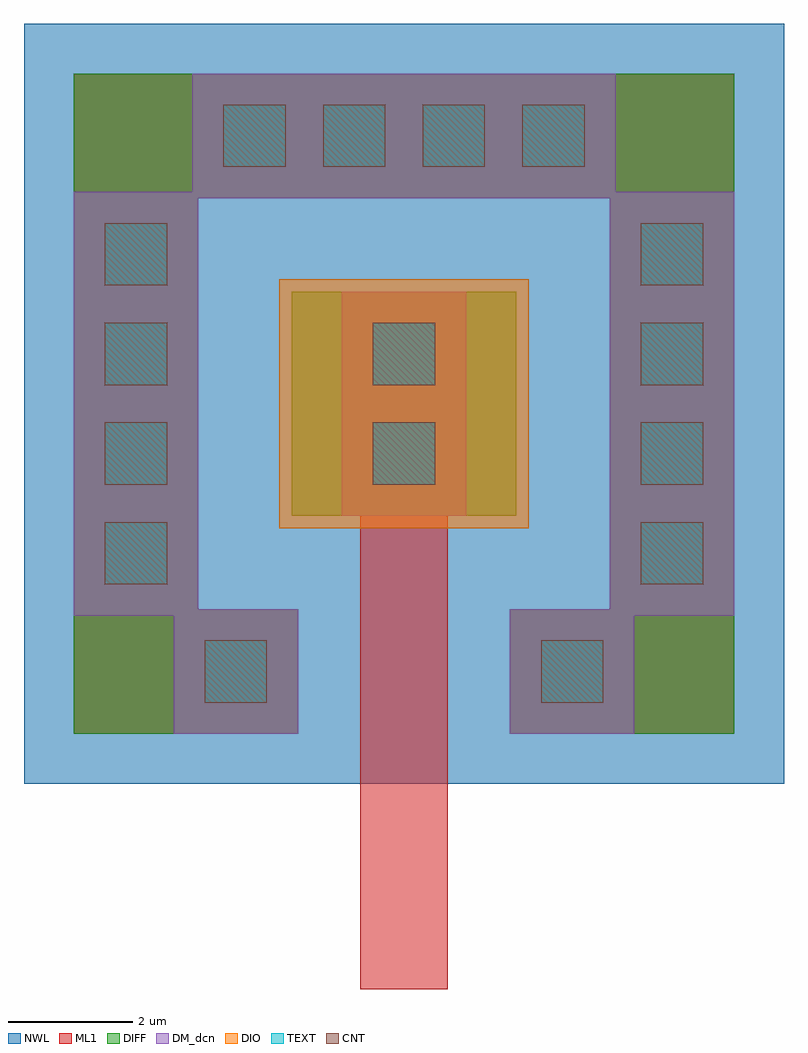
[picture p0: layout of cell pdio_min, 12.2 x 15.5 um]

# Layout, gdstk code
import gdstk
lib = gdstk.Library(unit=1e-6, precision=1e-09)
def R(c, l, rs):  # rectangles x0, y0, x1, y1
    for r in rs: c.add(gdstk.rectangle(r[:2], r[2:], *l))
NWL = (1, 0)
DIFF = (3, 0)
CNT = (7, 0)
ML1 = (8, 0)
TEXT = (13, 0)
DIO = (17, 0)
DM_dcn = (101, 0)

dcont_1 = lib.new_cell('dcont$1')
R(dcont_1, DIFF, [(-1,-1,1,1)])
R(dcont_1, CNT, [(-0.5,-0.5,0.5,0.5)])
R(dcont_1, ML1, [(-1,-1,1,1)])
R(dcont_1, TEXT, [(-0.5,-0.5,0.5,0.5)])
R(dcont_1, DM_dcn, [(-1,-1,1,1)])

diode_common = lib.new_cell('DIODE_COMMON')
R(diode_common, DIFF, [(3.8,4.3,7.4,7.9)])
diode_common.add(gdstk.FlexPath([(8.3,1.8),(9.9,1.8),(9.9,10.4),(1.3,10.4),(1.3,1.8),(2.9,1.8)], 2, ends="extended", simple_path=True, layer=8, datatype=0))  # ML1
diode_common.add(gdstk.FlexPath([(5.6,7.8),(5.6,-3.3)], 1.4, ends="flush", simple_path=True, layer=8, datatype=0))  # ML1
diode_common.add(gdstk.FlexPath([(8.3,1.8),(9.9,1.8),(9.9,10.4),(1.3,10.4),(1.3,1.8),(2.9,1.8)], 2, ends="extended", simple_path=True, layer=3, datatype=0))  # DIFF
diode_common.add(gdstk.Reference(dcont_1, (2.9,1.8)))
diode_common.add(gdstk.Reference(dcont_1, (8.3,1.8)))
diode_common.add(gdstk.Reference(dcont_1, (9.9,3.7)))
diode_common.add(gdstk.Reference(dcont_1, (1.3,5.3)))
diode_common.add(gdstk.Reference(dcont_1, (9.9,5.3)))
diode_common.add(gdstk.Reference(dcont_1, (1.3,6.9)))
diode_common.add(gdstk.Reference(dcont_1, (9.9,6.9)))
diode_common.add(gdstk.Reference(dcont_1, (1.3,8.5)))
diode_common.add(gdstk.Reference(dcont_1, (9.9,8.5)))
r = gdstk.Reference(dcont_1, (3.2,10.4)); r.repetition = gdstk.Repetition(4, 1, v1=(1.6,0), v2=(0,0)); diode_common.add(r)
diode_common.add(gdstk.Reference(dcont_1, (1.3,3.7)))

pdio_min = lib.new_cell('pdio_min')
R(pdio_min, NWL, [(0,0,12.2,12.2)])
R(pdio_min, ML1, [(5.2,4.4,7,7.8)])
R(pdio_min, DIO, [(4.1,4.1,8.1,8.1)])
pdio_min.add(gdstk.Reference(diode_common, (0.5,0)))
r = gdstk.Reference(dcont_1, (6.1,5.3)); r.repetition = gdstk.Repetition(1, 2, v1=(0,0), v2=(0,1.6)); pdio_min.add(r)

lib.write_gds('pdio_min.gds')
